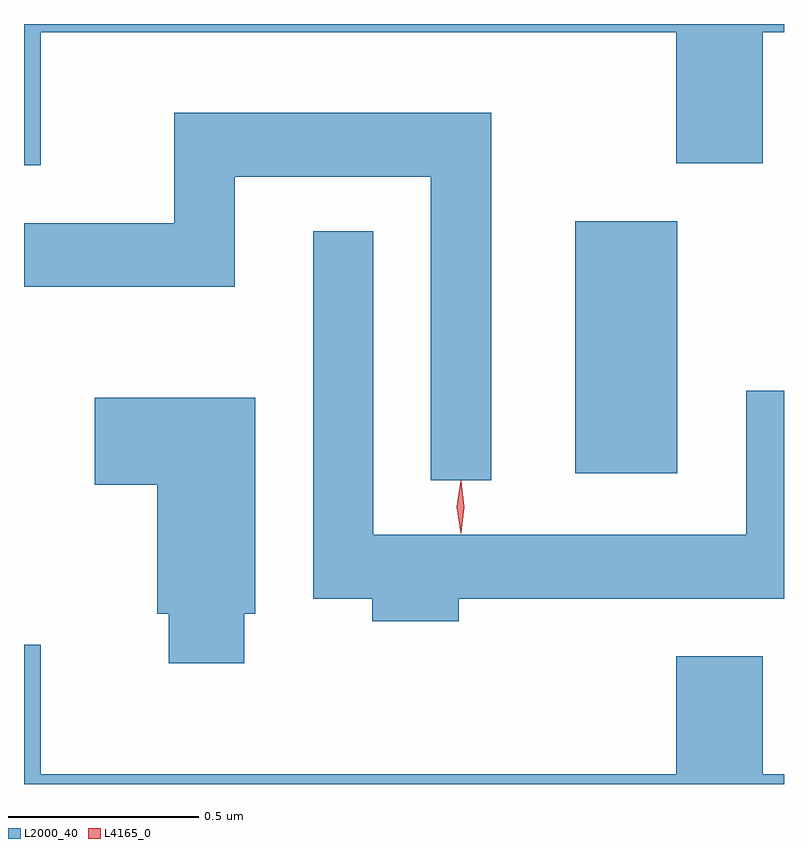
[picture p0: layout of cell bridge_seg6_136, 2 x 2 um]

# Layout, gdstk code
import gdstk
lib = gdstk.Library(unit=1e-6, precision=1e-09)
def R(c, l, rs):  # rectangles x0, y0, x1, y1
    for r in rs: c.add(gdstk.rectangle(r[:2], r[2:], *l))
def P(c, l, *ps):  # polygons
    for p in ps: c.add(gdstk.Polygon(p, *l))
L2000_40 = (2000, 40)
L4165_0 = (4165, 0)

bridge_seg6_136 = lib.new_cell('bridge_seg6_136')
R(bridge_seg6_136, L2000_40, [(1223.136,1655.436,1223.404,1656.099)])
P(bridge_seg6_136, L2000_40, [(1221.729,1656.596),(1223.401,1656.596),(1223.401,1656.251),(1223.629,1656.251),(1223.629,1656.596),(1223.685,1656.596),(1223.685,1656.618),(1221.685,1656.618),(1221.685,1656.246),(1221.729,1656.246)],
  [(1222.914,1656.384),(1222.081,1656.384),(1222.081,1656.094),(1221.685,1656.094),(1221.685,1655.926),(1222.239,1655.926),(1222.239,1656.216),(1222.756,1656.216),(1222.756,1655.418),(1222.914,1655.418)],
  [(1222.829,1655.106),(1223.685,1655.106),(1223.685,1655.653),(1223.586,1655.653),(1223.586,1655.274),(1222.604,1655.274),(1222.604,1656.073),(1222.446,1656.073),(1222.446,1655.106),(1222.601,1655.106),(1222.601,1655.046),(1222.829,1655.046)],
  [(1222.264,1655.066),(1222.294,1655.066),(1222.294,1655.634),(1221.871,1655.634),(1221.871,1655.406),(1222.036,1655.406),(1222.036,1655.066),(1222.066,1655.066),(1222.066,1654.936),(1222.264,1654.936)],
  [(1223.685,1654.644),(1223.629,1654.644),(1223.629,1654.954),(1223.401,1654.954),(1223.401,1654.644),(1221.729,1654.644),(1221.729,1654.984),(1221.685,1654.984),(1221.685,1654.618),(1223.685,1654.618)])
P(bridge_seg6_136, L4165_0, [(1222.834,1655.277),(1222.834,1655.278),(1222.824,1655.347),(1222.834,1655.416),(1222.834,1655.416),(1222.835,1655.416),(1222.844,1655.347),(1222.835,1655.278)],
  [(1222.834,1655.28),(1222.834,1655.28),(1222.824,1655.346),(1222.834,1655.412),(1222.834,1655.413),(1222.835,1655.412),(1222.844,1655.346),(1222.835,1655.28)])

lib.write_gds('bridge_seg6_136.gds')
